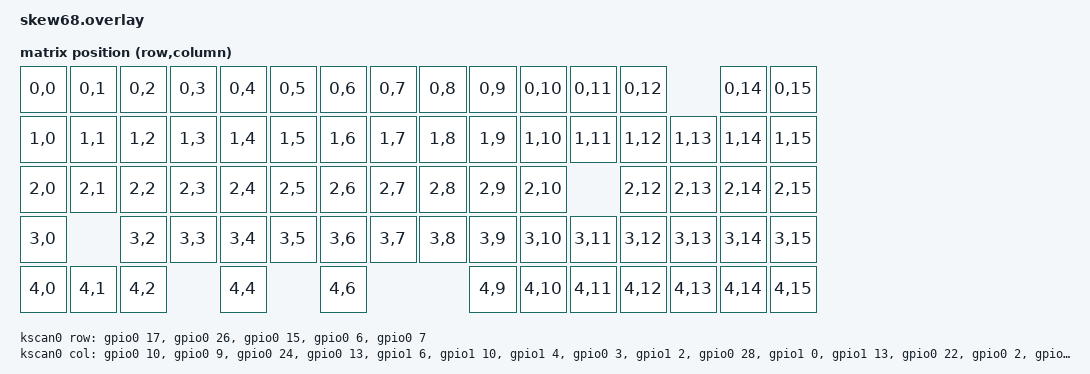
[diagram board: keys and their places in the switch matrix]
/*
 * Copyright (c) 2020 The ZMK Contributors
 *
 * SPDX-License-Identifier: MIT
 */

#include <dt-bindings/zmk/matrix_transform.h>
#include <dt-bindings/led/led.h>

/ {
	chosen {
		zmk,kscan = &kscan0;
		zmk,matrix_transform = &default_transform;
		zmk,underglow = &led_strip;
	};

	kscan0: kscan {
		compatible = "zmk,kscan-gpio-matrix";
		label = "KSCAN";

		diode-direction = "row2col";
		col-gpios
			= <&gpio0 10 (GPIO_ACTIVE_HIGH | GPIO_PULL_DOWN)>
			, <&gpio0 9  (GPIO_ACTIVE_HIGH | GPIO_PULL_DOWN)>
			, <&gpio0 24  (GPIO_ACTIVE_HIGH  | GPIO_PULL_DOWN)>
			, <&gpio0 13  (GPIO_ACTIVE_HIGH | GPIO_PULL_DOWN)>
			, <&gpio1 6 (GPIO_ACTIVE_HIGH  | GPIO_PULL_DOWN)>
			, <&gpio1 10 (GPIO_ACTIVE_HIGH | GPIO_PULL_DOWN)>
			, <&gpio1 4 (GPIO_ACTIVE_HIGH | GPIO_PULL_DOWN)>
			, <&gpio0 3 (GPIO_ACTIVE_HIGH  | GPIO_PULL_DOWN)>
			, <&gpio1 2  (GPIO_ACTIVE_HIGH | GPIO_PULL_DOWN)>
			, <&gpio0 28 (GPIO_ACTIVE_HIGH  | GPIO_PULL_DOWN)>
			, <&gpio1 0 (GPIO_ACTIVE_HIGH | GPIO_PULL_DOWN)>
			, <&gpio1 13 (GPIO_ACTIVE_HIGH | GPIO_PULL_DOWN)>
			, <&gpio0 22 (GPIO_ACTIVE_HIGH  | GPIO_PULL_DOWN)>
			, <&gpio0 2  (GPIO_ACTIVE_HIGH | GPIO_PULL_DOWN)>
			, <&gpio0 20 (GPIO_ACTIVE_HIGH  | GPIO_PULL_DOWN)>
			, <&gpio0 31 (GPIO_ACTIVE_HIGH  | GPIO_PULL_DOWN)>
			;
		row-gpios
			= <&gpio0 17 GPIO_ACTIVE_HIGH>
			, <&gpio0 26 GPIO_ACTIVE_HIGH>
			, <&gpio0 15 GPIO_ACTIVE_HIGH>
			, <&gpio0 6 GPIO_ACTIVE_HIGH>
			, <&gpio0 7 GPIO_ACTIVE_HIGH>
			;
	};

	default_transform: keymap_transform_0 {
		compatible = "zmk,matrix-transform";
		columns = <16>;
		rows = <5>;
        map = <
        RC(0,0) RC(0,1) RC(0,2) RC(0,3) RC(0,4) RC(0,5) RC(0,6) RC(0,7) RC(0,8) RC(0,9) RC(0,10) RC(0,11) RC(0,12)          RC(0,14) RC(0,15)    
        RC(1,0) RC(1,1) RC(1,2) RC(1,3) RC(1,4) RC(1,5) RC(1,6) RC(1,7) RC(1,8) RC(1,9) RC(1,10) RC(1,11) RC(1,12) RC(1,13) RC(1,14) RC(1,15)  
        RC(2,0) RC(2,1) RC(2,2) RC(2,3) RC(2,4) RC(2,5) RC(2,6) RC(2,7) RC(2,8) RC(2,9) RC(2,10)          RC(2,12) RC(2,13) RC(2,14) RC(2,15)
        RC(3,0)         RC(3,2) RC(3,3) RC(3,4) RC(3,5) RC(3,6) RC(3,7) RC(3,8) RC(3,9) RC(3,10) RC(3,11) RC(3,12) RC(3,13) RC(3,14) RC(3,15)
        RC(4,0) RC(4,1) RC(4,2)         RC(4,4)         RC(4,6)                 RC(4,9) RC(4,10) RC(4,11) RC(4,12) RC(4,13) RC(4,14) RC(4,15)       
		>;
	};
};
&pinctrl {
    spi3_default: spi3_default {
        group1 {
            psels = <NRF_PSEL(SPIM_MOSI, 1, 00)>;
        };
    };

    spi3_sleep: spi3_sleep {
        group1 {
            psels = <NRF_PSEL(SPIM_MOSI, 1, 00)>;
            low-power-enable;
        };
    };
};

&spi3 {
  compatible = "nordic,nrf-spim";
  status = "okay";

  pinctrl-0 = <&spi3_default>;
  pinctrl-1 = <&spi3_sleep>;
  pinctrl-names = "default", "sleep";

  led_strip: ws2812@0 {
    compatible = "worldsemi,ws2812-spi";
    label = "WS2812";

    /* SPI */
    reg = <0>; /* ignored, but necessary for SPI bindings */
    spi-max-frequency = <4000000>;

    /* WS2812 */
    chain-length = <5>; /* number of LEDs */
    spi-one-frame = <0x70>;
    spi-zero-frame = <0x40>;
    color-mapping = <LED_COLOR_ID_GREEN
                          LED_COLOR_ID_RED
                          LED_COLOR_ID_BLUE>;
  };
};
